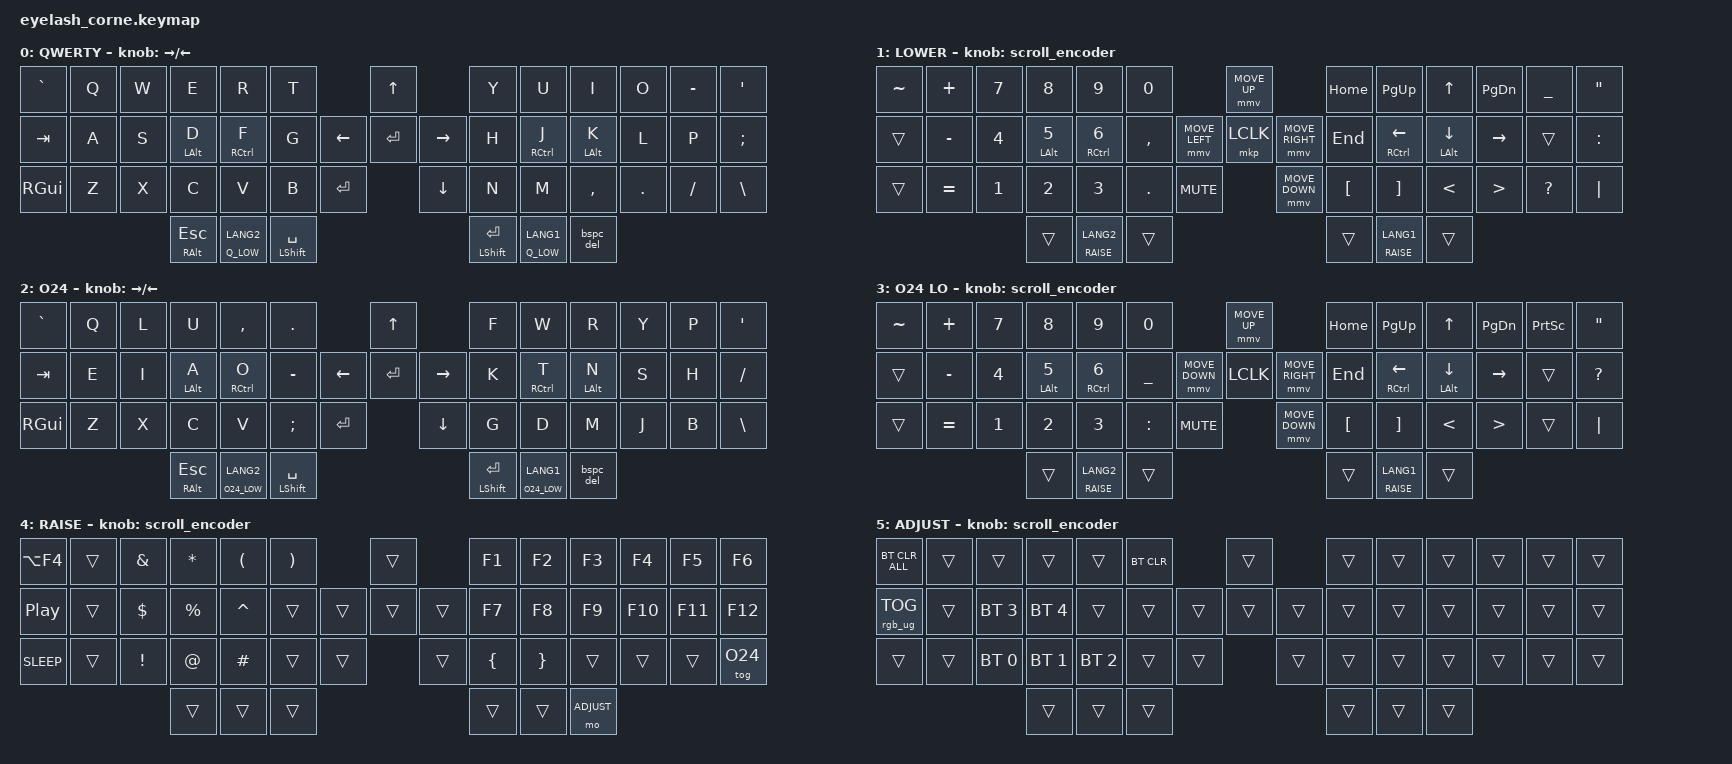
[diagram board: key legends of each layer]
#define ZMK_POINTING_DEFAULT_MOVE_VAL 1200
#define ZMK_POINTING_DEFAULT_SCRL_VAL 25

#include <input/processors.dtsi>
#include <zephyr/dt-bindings/input/input-event-codes.h>
#include <behaviors.dtsi>
#include <dt-bindings/zmk/bt.h>
#include <dt-bindings/zmk/keys.h>
#include <dt-bindings/zmk/outputs.h>
#include <dt-bindings/zmk/pointing.h>
#include <dt-bindings/zmk/rgb.h>

#define QWERTY  0
#define Q_LOW   1
#define O24     2
#define O24_LOW 3
#define RAISE   4
#define ADJUST  5

// Mouse Scroll
&msc_input_listener { input-processors = <&zip_scroll_scaler 2 1>; };
&msc {
    acceleration-exponent = <0>;
    time-to-max-speed-ms = <0>;
    delay-ms = <0>;
};

// Mouse Move
&mmv_input_listener { input-processors = <&zip_xy_scaler 2 1>; };
&mmv {
    time-to-max-speed-ms = <500>;
    acceleration-exponent = <1>;
    trigger-period-ms = <16>;
};

/ {
    behaviors {
        td0: td0 {
            compatible = "zmk,behavior-tap-dance";
            display-name = "Shift/Caps Lock Tap Dance";
            #binding-cells = <0>;
            bindings = <&kp LEFT_SHIFT>, <&kp CAPS>;
        };

        hm: homerow_mods {
            compatible = "zmk,behavior-hold-tap";
            display-name = "Homerow Mods";
            #binding-cells = <2>;
            tapping-term-ms = <180>;
            quick-tap-ms = <180>;
            flavor = "balanced";
            bindings = <&kp>, <&kp>;
        };

        bspc_del: backspace_delete {
            compatible = "zmk,behavior-mod-morph";
            display-name = "Backspace/Delete";
            #binding-cells = <0>;
            bindings = <&kp BACKSPACE>, <&kp DELETE>;
            mods = <(MOD_LSFT|MOD_RSFT)>;
        };

        tdquit: tap_dance_quit {
            compatible = "zmk,behavior-tap-dance";
            display-name = "Tap Dance/App Quit";
            #binding-cells = <0>;
            bindings = <&kp TILDE>, <&kp LA(F4)>;
            tapping-term-ms = <180>;
        };
    };

    rgb_encoder: rgb_encoder {
        compatible = "zmk,behavior-sensor-rotate";
        #sensor-binding-cells = <0>;
        bindings = <&rgb_ug RGB_BRI>, <&rgb_ug RGB_BRD>;
    };

    scroll_encoder: scroll_encoder {
        compatible = "zmk,behavior-sensor-rotate";
        #sensor-binding-cells = <0>;
        bindings = <&msc SCRL_DOWN>, <&msc SCRL_UP>;

        tap-ms = <100>;
    };

    keymap {
        compatible = "zmk,keymap";

        qwerty_layer {
            display-name = "QWERTY";
            bindings = <
&kp GRAVE  &kp Q  &kp W  &kp E         &kp R            &kp T                                   &kp UP                &kp Y             &kp U            &kp I       &kp O    &kp MINUS  &kp SQT
&kp TAB    &kp A  &kp S  &hm LALT D    &hm RCTRL F      &kp G                        &kp LEFT   &kp ENTER  &kp RIGHT  &kp H             &hm RCTRL J      &hm LALT K  &kp L    &kp P      &kp SEMI
&kp RGUI   &kp Z  &kp X  &kp C         &kp V            &kp B             &kp ENTER             &kp DOWN              &kp N             &kp M            &kp COMMA   &kp DOT  &kp FSLH   &kp BSLH
                         &hm RALT ESC  &lt Q_LOW LANG2  &hm LSHIFT SPACE                                              &hm LSHIFT ENTER  &lt Q_LOW LANG1  &bspc_del
            >;

             sensor-bindings = <&inc_dec_kp RIGHT LEFT>; 
        };

        qwerty_lower_layer {
            display-name = "LOWER";
            bindings = <
&kp TILDE  &kp PLUS   &kp N7  &kp N8       &kp N9           &kp N0                                 &mmv MOVE_UP                     &kp HOME  &kp PG_UP        &kp UP         &kp PG_DN  &kp UNDER  &kp DQT
&trans     &kp MINUS  &kp N4  &hm LALT N5  &hm RCTRL N6     &kp COMMA              &mmv MOVE_LEFT  &mkp LCLK       &mmv MOVE_RIGHT  &kp END   &hm RCTRL LEFT   &hm LALT DOWN  &kp RIGHT  &trans     &kp COLON
&trans     &kp EQUAL  &kp N1  &kp N2       &kp N3           &kp DOT    &kp C_MUTE                  &mmv MOVE_DOWN                   &kp LBKT  &kp RBKT         &kp LT         &kp GT     &kp QMARK  &kp PIPE
                              &trans       &lt RAISE LANG2  &trans                                                                  &trans    &lt RAISE LANG1  &trans
            >;

            sensor-bindings = <&scroll_encoder>;
        };

        o24_layer {
            display-name = "O24";
            bindings = <
&kp GRAVE  &kp Q  &kp L  &kp U         &kp COMMA          &kp DOT                                &kp UP                &kp F             &kp W              &kp R       &kp Y  &kp P  &kp SQT
&kp TAB    &kp E  &kp I  &hm LALT A    &hm RCTRL O        &kp MINUS                    &kp LEFT  &kp ENTER  &kp RIGHT  &kp K             &hm RCTRL T        &hm LALT N  &kp S  &kp H  &kp FSLH
&kp RGUI   &kp Z  &kp X  &kp C         &kp V              &kp SEMI          &kp ENTER            &kp DOWN              &kp G             &kp D              &kp M       &kp J  &kp B  &kp BSLH
                         &hm RALT ESC  &lt O24_LOW LANG2  &hm LSHIFT SPACE                                             &hm LSHIFT ENTER  &lt O24_LOW LANG1  &bspc_del
            >;

            sensor-bindings = <&inc_dec_kp RIGHT LEFT>;
        };

        o24_lower_layer {
            display-name = "O24 LO";
            bindings = <
&kp TILDE  &kp PLUS   &kp N7  &kp N8       &kp N9           &kp N0                                 &mmv MOVE_UP                     &kp HOME  &kp PG_UP        &kp UP         &kp PG_DN  &kp PSCRN  &kp DQT
&trans     &kp MINUS  &kp N4  &hm LALT N5  &hm RCTRL N6     &kp UNDER              &mmv MOVE_DOWN  &kp LCLK        &mmv MOVE_RIGHT  &kp END   &hm RCTRL LEFT   &hm LALT DOWN  &kp RIGHT  &trans     &kp QMARK
&trans     &kp EQUAL  &kp N1  &kp N2       &kp N3           &kp COLON  &kp C_MUTE                  &mmv MOVE_DOWN                   &kp LBKT  &kp RBKT         &kp LT         &kp GT     &trans     &kp PIPE
                              &trans       &lt RAISE LANG2  &trans                                                                  &trans    &lt RAISE LANG1  &trans
            >;

            sensor-bindings = <&scroll_encoder>;
        };

        raise_layer {
            display-name = "RAISE";
            bindings = <
&kp LA(F4)        &trans  &kp AMPS  &kp ASTRK  &kp LPAR   &kp RPAR                 &trans          &kp F1    &kp F2    &kp F3      &kp F4   &kp F5   &kp F6
&kp C_PLAY_PAUSE  &trans  &kp DLLR  &kp PRCNT  &kp CARET  &trans           &trans  &trans  &trans  &kp F7    &kp F8    &kp F9      &kp F10  &kp F11  &kp F12
&kp C_SLEEP       &trans  &kp EXCL  &kp AT     &kp HASH   &trans   &trans          &trans          &kp LBRC  &kp RBRC  &trans      &trans   &trans   &tog O24
                                    &trans     &trans     &trans                                   &trans    &trans    &mo ADJUST
            >;

            sensor-bindings = <&scroll_encoder>;
        };

        adjust_layer {
            display-name = "ADJUST";
            bindings = <
&bt BT_CLR_ALL   &trans  &trans        &trans        &trans        &bt BT_CLR                  &trans          &trans  &trans  &trans  &trans  &trans  &trans
&rgb_ug RGB_TOG  &trans  &bt BT_SEL 3  &bt BT_SEL 4  &trans        &trans              &trans  &trans  &trans  &trans  &trans  &trans  &trans  &trans  &trans
&trans           &trans  &bt BT_SEL 0  &bt BT_SEL 1  &bt BT_SEL 2  &trans      &trans          &trans          &trans  &trans  &trans  &trans  &trans  &trans
                                       &trans        &trans        &trans                                      &trans  &trans  &trans
            >;

            sensor-bindings = <&scroll_encoder>;
        };
    };
};
